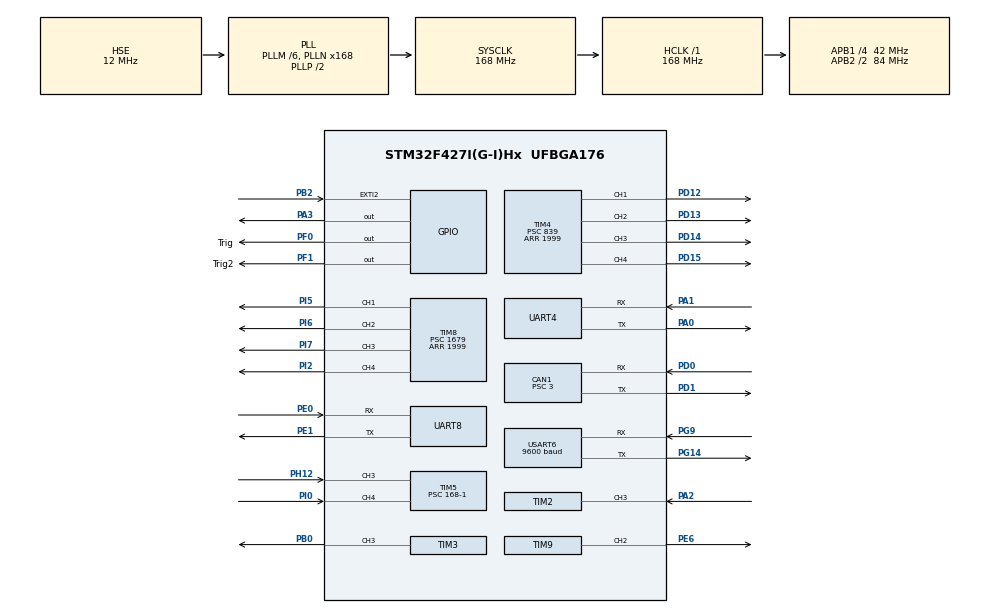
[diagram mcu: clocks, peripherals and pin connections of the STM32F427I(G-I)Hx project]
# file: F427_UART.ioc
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CAN1.BS1=CAN_BS1_10TQ
CAN1.BS2=CAN_BS2_3TQ
CAN1.CalculateBaudRate=1000000
CAN1.CalculateTimeBit=1000
CAN1.CalculateTimeQuantum=71.42857142857143
CAN1.Prescaler=3
Dma.Request0=UART4_RX
Dma.Request1=UART4_TX
Dma.Request2=UART8_RX
Dma.Request3=UART8_TX
Dma.UART4_RX.0.Direction=DMA_PERIPH_TO_MEMORY
Dma.UART4_RX.0.FIFOMode=DMA_FIFOMODE_DISABLE
Dma.UART4_RX.0.Instance=DMA1_Stream2
Dma.UART4_RX.0.MemDataAlignment=DMA_MDATAALIGN_BYTE
Dma.UART4_RX.0.MemInc=DMA_MINC_ENABLE
Dma.UART4_RX.0.Mode=DMA_NORMAL
Dma.UART4_RX.0.PeriphDataAlignment=DMA_PDATAALIGN_BYTE
Dma.UART4_RX.0.PeriphInc=DMA_PINC_DISABLE
Dma.UART4_RX.0.Priority=DMA_PRIORITY_LOW
Dma.UART4_TX.1.Direction=DMA_MEMORY_TO_PERIPH
Dma.UART4_TX.1.FIFOMode=DMA_FIFOMODE_DISABLE
Dma.UART4_TX.1.Instance=DMA1_Stream4
Dma.UART4_TX.1.MemDataAlignment=DMA_MDATAALIGN_BYTE
Dma.UART4_TX.1.MemInc=DMA_MINC_ENABLE
Dma.UART4_TX.1.Mode=DMA_NORMAL
Dma.UART4_TX.1.PeriphDataAlignment=DMA_PDATAALIGN_BYTE
Dma.UART4_TX.1.PeriphInc=DMA_PINC_DISABLE
Dma.UART4_TX.1.Priority=DMA_PRIORITY_LOW
Dma.UART8_RX.2.Direction=DMA_PERIPH_TO_MEMORY
Dma.UART8_RX.2.FIFOMode=DMA_FIFOMODE_DISABLE
Dma.UART8_RX.2.Instance=DMA1_Stream6
Dma.UART8_RX.2.MemDataAlignment=DMA_MDATAALIGN_BYTE
Dma.UART8_RX.2.MemInc=DMA_MINC_ENABLE
Dma.UART8_RX.2.Mode=DMA_NORMAL
Dma.UART8_RX.2.PeriphDataAlignment=DMA_PDATAALIGN_BYTE
Dma.UART8_RX.2.PeriphInc=DMA_PINC_DISABLE
Dma.UART8_RX.2.Priority=DMA_PRIORITY_LOW
Dma.UART8_TX.3.Direction=DMA_MEMORY_TO_PERIPH
Dma.UART8_TX.3.FIFOMode=DMA_FIFOMODE_DISABLE
Dma.UART8_TX.3.Instance=DMA1_Stream0
Dma.UART8_TX.3.MemDataAlignment=DMA_MDATAALIGN_BYTE
Dma.UART8_TX.3.MemInc=DMA_MINC_ENABLE
Dma.UART8_TX.3.Mode=DMA_NORMAL
Dma.UART8_TX.3.PeriphDataAlignment=DMA_PDATAALIGN_BYTE
Dma.UART8_TX.3.PeriphInc=DMA_PINC_DISABLE
Dma.UART8_TX.3.Priority=DMA_PRIORITY_LOW
FREERTOS.Tasks01=defaultTask,0,128,StartDefaultTask,Default,NULL,Dynamic,NULL,NULL
Mcu.Family=STM32F4
Mcu.Name=STM32F427I(G-I)Hx
Mcu.Package=UFBGA176
NVIC.CAN1_RX0_IRQn=true\:5\:0\:false\:false\:true\:true\:true\:true\:true
NVIC.DMA1_Stream0_IRQn=true\:5\:0\:false\:false\:true\:true\:false\:true\:true
NVIC.DMA1_Stream2_IRQn=true\:5\:0\:false\:false\:true\:true\:false\:true\:true
NVIC.DMA1_Stream4_IRQn=true\:5\:0\:false\:false\:true\:true\:false\:true\:true
NVIC.DMA1_Stream6_IRQn=true\:5\:0\:false\:false\:true\:true\:false\:true\:true
NVIC.EXTI2_IRQn=true\:5\:0\:false\:false\:true\:true\:true\:true\:true
NVIC.PriorityGroup=NVIC_PRIORITYGROUP_4
NVIC.TIM2_IRQn=true\:5\:0\:false\:false\:true\:true\:true\:true\:true
NVIC.TIM5_IRQn=true\:5\:0\:false\:false\:true\:true\:true\:true\:true
NVIC.UART4_IRQn=true\:5\:0\:false\:false\:true\:true\:true\:true\:true
NVIC.UART8_IRQn=true\:5\:0\:false\:false\:true\:true\:true\:true\:true
NVIC.USART6_IRQn=true\:5\:0\:false\:false\:true\:true\:true\:true\:true
PA0/WKUP.Mode=Asynchronous
PA0/WKUP.Signal=UART4_TX
PA1.Mode=Asynchronous
PA1.Signal=UART4_RX
PA13.Mode=Serial_Wire
PA13.Signal=SYS_JTMS-SWDIO
PA14.Mode=Serial_Wire
PA14.Signal=SYS_JTCK-SWCLK
PA2.Signal=S_TIM2_CH3
PA3.Signal=GPIO_Output
PB0.Signal=S_TIM3_CH3
PB2/BOOT1.Signal=GPXTI2
PD0.Mode=CAN_Activate
PD0.Signal=CAN1_RX
PD1.Mode=CAN_Activate
PD1.Signal=CAN1_TX
PD12.Signal=S_TIM4_CH1
PD13.Signal=S_TIM4_CH2
PD14.Signal=S_TIM4_CH3
PD15.Signal=S_TIM4_CH4
PE0.Mode=Asynchronous
PE0.Signal=UART8_RX
PE1.Mode=Asynchronous
PE1.Signal=UART8_TX
PE6.Signal=S_TIM9_CH2
PF0.GPIO_Label=Trig
PF0.GPIO_PuPd=GPIO_PULLUP
PF0.GPIO_Speed=GPIO_SPEED_FREQ_HIGH
PF0.Signal=GPIO_Output
PF1.GPIO_Label=Trig2
PF1.GPIO_PuPd=GPIO_PULLUP
PF1.GPIO_Speed=GPIO_SPEED_FREQ_HIGH
PF1.Signal=GPIO_Output
PG14.Mode=Asynchronous
PG14.Signal=USART6_TX
PG9.Mode=Asynchronous
PG9.Signal=USART6_RX
PH0/OSC_IN.Mode=HSE-External-Oscillator
PH0/OSC_IN.Signal=RCC_OSC_IN
PH1/OSC_OUT.Mode=HSE-External-Oscillator
PH1/OSC_OUT.Signal=RCC_OSC_OUT
PH12.Signal=S_TIM5_CH3
PI0.Signal=S_TIM5_CH4
PI2.Signal=S_TIM8_CH4
PI5.Signal=S_TIM8_CH1
PI6.Signal=S_TIM8_CH2
PI7.Signal=S_TIM8_CH3
ProjectManager.HeapSize=0x200
ProjectManager.StackSize=0x400
ProjectManager.TargetToolchain=MDK-ARM V5.32
RCC.48MHZClocksFreq_Value=84000000
RCC.AHBFreq_Value=168000000
RCC.APB1CLKDivider=RCC_HCLK_DIV4
RCC.APB1Freq_Value=42000000
RCC.APB1TimFreq_Value=84000000
RCC.APB2CLKDivider=RCC_HCLK_DIV2
RCC.APB2Freq_Value=84000000
RCC.APB2TimFreq_Value=168000000
RCC.CortexFreq_Value=168000000
RCC.HCLKFreq_Value=168000000
RCC.HSE_VALUE=12000000
RCC.HSI_VALUE=16000000
RCC.LSE_VALUE=32768
RCC.PLLM=6
RCC.PLLN=168
RCC.PLLSourceVirtual=RCC_PLLSOURCE_HSE
RCC.SYSCLKFreq_VALUE=168000000
RCC.SYSCLKSource=RCC_SYSCLKSOURCE_PLLCLK
RCC.VCOOutputFreq_Value=336000000
SH.S_TIM2_CH3.0=TIM2_CH3,Input_Capture3_from_TI3
SH.S_TIM3_CH3.0=TIM3_CH3,PWM Generation3 CH3
SH.S_TIM4_CH1.0=TIM4_CH1,PWM Generation1 CH1
SH.S_TIM4_CH2.0=TIM4_CH2,PWM Generation2 CH2
SH.S_TIM4_CH3.0=TIM4_CH3,PWM Generation3 CH3
SH.S_TIM4_CH4.0=TIM4_CH4,PWM Generation4 CH4
SH.S_TIM5_CH3.0=TIM5_CH3,Input_Capture3_from_TI3
SH.S_TIM5_CH4.0=TIM5_CH4,Input_Capture4_from_TI4
SH.S_TIM8_CH1.0=TIM8_CH1,PWM Generation1 CH1
SH.S_TIM8_CH2.0=TIM8_CH2,PWM Generation2 CH2
SH.S_TIM8_CH3.0=TIM8_CH3,PWM Generation3 CH3
SH.S_TIM8_CH4.0=TIM8_CH4,PWM Generation4 CH4
SH.S_TIM9_CH2.0=TIM9_CH2,PWM Generation2 CH2
TIM2.Channel-Input_Capture3_from_TI3=TIM_CHANNEL_3
TIM2.Period=65535
TIM2.Prescaler=168-1
TIM3.Channel-PWM\ Generation3\ CH3=TIM_CHANNEL_3
TIM3.Period=1999
TIM3.Prescaler=839
TIM3.Pulse-PWM\ Generation3\ CH3=2000
TIM4.Channel-PWM\ Generation1\ CH1=TIM_CHANNEL_1
TIM4.Channel-PWM\ Generation2\ CH2=TIM_CHANNEL_2
TIM4.Channel-PWM\ Generation3\ CH3=TIM_CHANNEL_3
TIM4.Channel-PWM\ Generation4\ CH4=TIM_CHANNEL_4
TIM4.OC1Preload_PWM=ENABLE
TIM4.OC2Preload_PWM=ENABLE
TIM4.OC3Preload_PWM=ENABLE
TIM4.OC4Preload_PWM=ENABLE
TIM4.Period=1999
TIM4.Prescaler=839
TIM4.Pulse-PWM\ Generation1\ CH1=2000
TIM4.Pulse-PWM\ Generation2\ CH2=2000
TIM4.Pulse-PWM\ Generation3\ CH3=2000
TIM4.Pulse-PWM\ Generation4\ CH4=2000
TIM5.Channel-Input_Capture3_from_TI3=TIM_CHANNEL_3
TIM5.Channel-Input_Capture4_from_TI4=TIM_CHANNEL_4
TIM5.Period=65535
TIM5.Prescaler=168-1
TIM8.Channel-PWM\ Generation1\ CH1=TIM_CHANNEL_1
TIM8.Channel-PWM\ Generation2\ CH2=TIM_CHANNEL_2
TIM8.Channel-PWM\ Generation3\ CH3=TIM_CHANNEL_3
TIM8.Channel-PWM\ Generation4\ CH4=TIM_CHANNEL_4
TIM8.Period=1999
TIM8.Prescaler=1679
TIM8.Pulse-PWM\ Generation1\ CH1=2000
TIM8.Pulse-PWM\ Generation2\ CH2=2000
TIM8.Pulse-PWM\ Generation3\ CH3=2000
TIM8.Pulse-PWM\ Generation4\ CH4=2000
TIM9.Channel-PWM\ Generation2\ CH2=TIM_CHANNEL_2
TIM9.OC2Preload_PWM=DISABLE
TIM9.Period=1999
TIM9.Prescaler=1679
TIM9.Pulse-PWM\ Generation2\ CH2=2000
UART4.VirtualMode=Asynchronous
UART8.VirtualMode=Asynchronous
USART6.BaudRate=9600
USART6.VirtualMode=VM_ASYNC
VP_FREERTOS_VS_CMSIS_V1.Mode=CMSIS_V1
VP_TIM2_VS_ClockSourceINT.Mode=Internal
VP_TIM3_VS_ClockSourceINT.Mode=Internal
VP_TIM4_VS_ClockSourceINT.Mode=Internal
VP_TIM5_VS_ClockSourceINT.Mode=Internal
VP_TIM8_VS_ClockSourceINT.Mode=Internal
VP_TIM9_VS_ClockSourceINT.Mode=Internal
board=custom

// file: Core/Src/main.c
/* USER CODE BEGIN Header */
/* USER CODE END Header */
#include "main.h"
#include "cmsis_os.h"
#include "can.h"
#include "dma.h"
#include "tim.h"
#include "usart.h"
#include "gpio.h"

/* USER CODE BEGIN Includes */
#include "string.h"
#include "bsp_can.h"
#include "bsp_dwt.h"
#include "HC_SR04task.h"
/* USER CODE END Includes */

void SystemClock_Config(void);
void MX_FREERTOS_Init(void);

int main(void)
{

  /* MCU Configuration--------------------------------------------------------*/

  /* Reset of all peripherals, Initializes the Flash interface and the Systick. */
  HAL_Init();

  /* Configure the system clock */
  SystemClock_Config();

  /* Initialize all configured peripherals */
  MX_GPIO_Init();
  MX_DMA_Init();
  MX_UART4_Init();
  MX_UART8_Init();
  MX_TIM9_Init();
  MX_CAN1_Init();
  MX_TIM2_Init();
  MX_USART6_UART_Init();
  MX_TIM5_Init();
  MX_TIM8_Init();
  MX_TIM4_Init();
  MX_TIM3_Init();
  /* USER CODE BEGIN 2 */
//	Hcsr04Init(&htim2, TIM_CHANNEL_3);  //  超声波模块初始化
//  Hcsr04Start();  //  开启超声波模块测距
	can_filter_init();
	HAL_TIM_PWM_Start(&htim3,TIM_CHANNEL_3);
	HAL_TIM_PWM_Start(&htim4,TIM_CHANNEL_1);
	HAL_TIM_PWM_Start(&htim4,TIM_CHANNEL_2);
	HAL_TIM_PWM_Start(&htim4,TIM_CHANNEL_3);
	HAL_TIM_PWM_Start(&htim4,TIM_CHANNEL_4);
	HAL_TIM_PWM_Start(&htim8,TIM_CHANNEL_1);
	HAL_TIM_PWM_Start(&htim8,TIM_CHANNEL_2);
	HAL_TIM_PWM_Start(&htim8,TIM_CHANNEL_3);
	HAL_TIM_PWM_Start(&htim8,TIM_CHANNEL_4);
	HAL_TIM_PWM_Start(&htim9,TIM_CHANNEL_2);
	DWT_Init(168);
  /* USER CODE END 2 */

  /* Call init function for freertos objects (in cmsis_os2.c) */
  MX_FREERTOS_Init();

  /* Start scheduler */
  osKernelStart();

  /* We should never get here as control is now taken by the scheduler */

  /* Infinite loop */
		while(1)
		{
		}

}

void SystemClock_Config(void)
{
  RCC_OscInitTypeDef RCC_OscInitStruct = {0};
  RCC_ClkInitTypeDef RCC_ClkInitStruct = {0};

  /** Configure the main internal regulator output voltage
  */
  __HAL_RCC_PWR_CLK_ENABLE();
  __HAL_PWR_VOLTAGESCALING_CONFIG(PWR_REGULATOR_VOLTAGE_SCALE1);

  /** Initializes the RCC Oscillators according to the specified parameters
  * in the RCC_OscInitTypeDef structure.
  */
  RCC_OscInitStruct.OscillatorType = RCC_OSCILLATORTYPE_LSI|RCC_OSCILLATORTYPE_HSE;
  RCC_OscInitStruct.HSEState = RCC_HSE_ON;
  RCC_OscInitStruct.LSIState = RCC_LSI_ON;
  RCC_OscInitStruct.PLL.PLLState = RCC_PLL_ON;
  RCC_OscInitStruct.PLL.PLLSource = RCC_PLLSOURCE_HSE;
  RCC_OscInitStruct.PLL.PLLM = 6;
  RCC_OscInitStruct.PLL.PLLN = 168;
  RCC_OscInitStruct.PLL.PLLP = RCC_PLLP_DIV2;
  RCC_OscInitStruct.PLL.PLLQ = 4;
  if (HAL_RCC_OscConfig(&RCC_OscInitStruct) != HAL_OK)
  {
    Error_Handler();
  }

  /** Initializes the CPU, AHB and APB buses clocks
  */
  RCC_ClkInitStruct.ClockType = RCC_CLOCKTYPE_HCLK|RCC_CLOCKTYPE_SYSCLK
                              |RCC_CLOCKTYPE_PCLK1|RCC_CLOCKTYPE_PCLK2;
  RCC_ClkInitStruct.SYSCLKSource = RCC_SYSCLKSOURCE_PLLCLK;
  RCC_ClkInitStruct.AHBCLKDivider = RCC_SYSCLK_DIV1;
  RCC_ClkInitStruct.APB1CLKDivider = RCC_HCLK_DIV4;
  RCC_ClkInitStruct.APB2CLKDivider = RCC_HCLK_DIV2;

  if (HAL_RCC_ClockConfig(&RCC_ClkInitStruct, FLASH_LATENCY_5) != HAL_OK)
  {
    Error_Handler();
  }
}

void Error_Handler(void)
{
}

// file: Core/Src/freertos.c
/* USER CODE BEGIN Header */
/**
  ******************************************************************************
  * File Name          : freertos.c
  * Description        : Code for freertos applications
  ******************************************************************************
  * @attention
  *
  * Copyright (c) 2025 STMicroelectronics.
  * All rights reserved.
  *
  * This software is licensed under terms that can be found in the LICENSE file
  * in the root directory of this software component.
  * If no LICENSE file comes with this software, it is provided AS-IS.
  *
  ******************************************************************************
  */
/* USER CODE END Header */

#include "FreeRTOS.h"
#include "task.h"
#include "main.h"
#include "cmsis_os.h"

/* USER CODE BEGIN Includes */
#include "chassis_task.h"
#include "HC_SR04task.h"
#include "loop_task.h"
#include "two_delay_task.h"
/* USER CODE END Includes */

/* USER CODE BEGIN Variables */
osThreadId chassisTaskHandle;
osThreadId HC_SR04TaskHandle;
osThreadId crash_motorTaskHandle;
osThreadId loopTaskHandle;
osThreadId two_delay_TaskHandle;
/* USER CODE END Variables */
osThreadId defaultTaskHandle;

void StartDefaultTask(void const * argument);

void MX_FREERTOS_Init(void); /* (MISRA C 2004 rule 8.1) */

/* GetIdleTaskMemory prototype (linked to static allocation support) */
void vApplicationGetIdleTaskMemory( StaticTask_t **ppxIdleTaskTCBBuffer, StackType_t **ppxIdleTaskStackBuffer, uint32_t *pulIdleTaskStackSize );

/* USER CODE BEGIN GET_IDLE_TASK_MEMORY */
static StaticTask_t xIdleTaskTCBBuffer;
static StackType_t xIdleStack[configMINIMAL_STACK_SIZE];

void vApplicationGetIdleTaskMemory( StaticTask_t **ppxIdleTaskTCBBuffer, StackType_t **ppxIdleTaskStackBuffer, uint32_t *pulIdleTaskStackSize )
{
  *ppxIdleTaskTCBBuffer = &xIdleTaskTCBBuffer;
  *ppxIdleTaskStackBuffer = &xIdleStack[0];
  *pulIdleTaskStackSize = configMINIMAL_STACK_SIZE;
  /* place for user code */
}
/* USER CODE END GET_IDLE_TASK_MEMORY */

void MX_FREERTOS_Init(void) {

  /* Create the thread(s) */
  /* definition and creation of defaultTask */
  osThreadDef(defaultTask, StartDefaultTask, osPriorityNormal, 0, 128);
  defaultTaskHandle = osThreadCreate(osThread(defaultTask), NULL);

  /* USER CODE BEGIN RTOS_THREADS */
  /* add threads, ... */
	//主控任务
	osThreadDef(chassisTask, StartchassisTask, osPriorityNormal, 0, 128);
  chassisTaskHandle = osThreadCreate(osThread(chassisTask), NULL);

	//超声波测距
	osThreadDef(HC_SR04Task, HC_SR04Task, osPriorityNormal, 0, 128);
  HC_SR04TaskHandle = osThreadCreate(osThread(HC_SR04Task), NULL);

	//模式控制
	osThreadDef(loopTask, loop_task, osPriorityNormal, 0, 128);
  loopTaskHandle = osThreadCreate(osThread(loopTask), NULL);

	//两秒延时处理
	osThreadDef(two_delay_Task, two_delay_Task, osPriorityNormal, 0, 128);
  two_delay_TaskHandle = osThreadCreate(osThread(two_delay_Task), NULL);
  /* USER CODE END RTOS_THREADS */

}

void StartDefaultTask(void const * argument)
{
  for(;;)
  {
    osDelay(1);
  }
}
